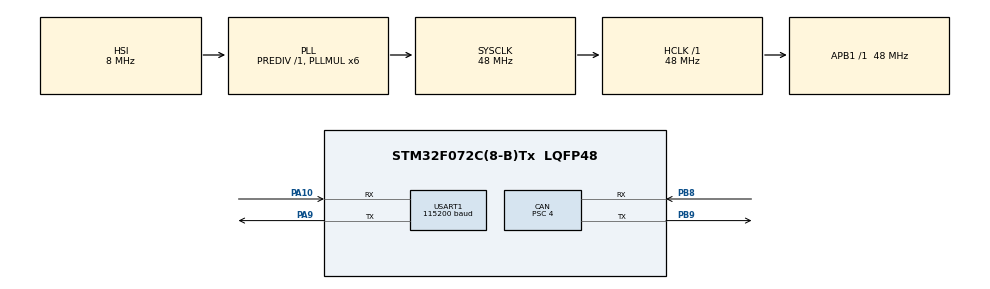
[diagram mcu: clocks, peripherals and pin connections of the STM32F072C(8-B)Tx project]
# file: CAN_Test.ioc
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CAN.ABOM=ENABLE
CAN.AWUM=ENABLE
CAN.BS1=CAN_BS1_6TQ
CAN.BS2=CAN_BS2_5TQ
CAN.CalculateBaudRate=1000000
CAN.CalculateTimeBit=1000
CAN.CalculateTimeQuantum=83.33333333333333
CAN.Mode=CAN_MODE_LOOPBACK
CAN.NART=ENABLE
CAN.Prescaler=4
CAN.RFLM=ENABLE
CAN.SJW=CAN_SJW_2TQ
Mcu.Family=STM32F0
Mcu.Name=STM32F072C(8-B)Tx
Mcu.Package=LQFP48
NVIC.CEC_CAN_IRQn=true\:1\:0\:true\:false\:true\:true\:true\:true
NVIC.USART1_IRQn=true\:2\:0\:true\:false\:true\:true\:true\:true
PA10.Mode=Asynchronous
PA10.Signal=USART1_RX
PA13.Mode=Serial_Wire
PA13.Signal=SYS_SWDIO
PA14.Mode=Serial_Wire
PA14.Signal=SYS_SWCLK
PA9.Mode=Asynchronous
PA9.Signal=USART1_TX
PB8.Mode=CAN_Activate
PB8.Signal=CAN_RX
PB9.Mode=CAN_Activate
PB9.Signal=CAN_TX
PF0-OSC_IN.Mode=HSE-External-Oscillator
PF0-OSC_IN.Signal=RCC_OSC_IN
PF1-OSC_OUT.Mode=HSE-External-Oscillator
PF1-OSC_OUT.Signal=RCC_OSC_OUT
ProjectManager.HeapSize=0x200
ProjectManager.StackSize=0x400
ProjectManager.TargetToolchain=STM32CubeIDE
RCC.AHBFreq_Value=48000000
RCC.APB1Freq_Value=48000000
RCC.APB1TimFreq_Value=48000000
RCC.HCLKFreq_Value=48000000
RCC.PLLMUL=RCC_PLL_MUL6
RCC.SYSCLKFreq_VALUE=48000000
RCC.SYSCLKSource=RCC_SYSCLKSOURCE_PLLCLK
USART1.BaudRate=115200
USART1.VirtualMode-Asynchronous=VM_ASYNC
board=custom

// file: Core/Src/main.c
/* USER CODE BEGIN Header */
/**
  ******************************************************************************
  * @file           : main.c
  * @brief          : Main program body
  ******************************************************************************
  * @attention
  *
  * Copyright (c) 2024 STMicroelectronics.
  * All rights reserved.
  *
  * This software is licensed under terms that can be found in the LICENSE file
  * in the root directory of this software component.
  * If no LICENSE file comes with this software, it is provided AS-IS.
  *
  ******************************************************************************
  */
/* USER CODE END Header */
#include "main.h"
#include "can.h"
#include "usart.h"
#include "gpio.h"

/* USER CODE BEGIN PV */
uint8_t flag = 0;
uint32_t TxMailbox;
uint8_t RxData[8];

uint8_t TxData[8] = {0x01, 0x02, 0x03, 0x04, 0x05, 0x06, 0x07, 0x08};
CAN_RxHeaderTypeDef RxHeader;
CAN_TxHeaderTypeDef TxHeader;
/* USER CODE END PV */

void SystemClock_Config(void);

int main(void)
{

  /* MCU Configuration--------------------------------------------------------*/

  /* Reset of all peripherals, Initializes the Flash interface and the Systick. */
  HAL_Init();

  /* Configure the system clock */
  SystemClock_Config();

  /* Initialize all configured peripherals */
  MX_GPIO_Init();
  MX_CAN_Init();
  MX_USART1_UART_Init();
  /* USER CODE BEGIN 2 */
  Can_SetTxMsg(&TxHeader);
	if (HAL_CAN_AddTxMessage(&hcan, &TxHeader, TxData, &TxMailbox) != HAL_OK)
	{
	  Error_Handler();
	}

	printf("\r\nCAN DATA transmit success:\r\n");
	for(uint8_t i = 0; i < 8; i++)
	{
		printf("%2x ", TxData[i]);
	}
	printf("\r\nCAN DATA transmit success:\r\n");
  /* USER CODE END 2 */

  /* Infinite loop */
  /* USER CODE BEGIN WHILE */
  while (1)
  {
//	  printf("\r\n hello mingda \r\n");

	  if(flag == 1)
	  {

		printf("\r\nCAN DATA Receive success:\r\n");
		for(uint8_t i = 0; i < 8; i++)
		{
			printf("%2x ", RxData[i]);
		}
		printf("\r\nCAN DATA Receive success:\r\n");

		flag = 0;
	  }

		for(uint8_t i = 0; i < 8; i++)
		{
			TxData[i] = TxData[i] + 1;
		}

		if (HAL_CAN_AddTxMessage(&hcan, &TxHeader, TxData, &TxMailbox) != HAL_OK)
		{
		  Error_Handler();
		}

		printf("\r\nCAN DATA transmit success:\r\n");

		for(uint8_t i = 0; i < 8; i++)
		{
			printf("%2x ", TxData[i]);
		}
		printf("\r\nCAN DATA transmit success:\r\n");
	  HAL_Delay(1000);
    /* USER CODE END WHILE */

  }
}

void SystemClock_Config(void)
{
  RCC_OscInitTypeDef RCC_OscInitStruct = {0};
  RCC_ClkInitTypeDef RCC_ClkInitStruct = {0};
  RCC_PeriphCLKInitTypeDef PeriphClkInit = {0};

  /** Initializes the RCC Oscillators according to the specified parameters
  * in the RCC_OscInitTypeDef structure.
  */
  RCC_OscInitStruct.OscillatorType = RCC_OSCILLATORTYPE_HSI;
  RCC_OscInitStruct.HSIState = RCC_HSI_ON;
  RCC_OscInitStruct.HSICalibrationValue = RCC_HSICALIBRATION_DEFAULT;
  RCC_OscInitStruct.PLL.PLLState = RCC_PLL_ON;
  RCC_OscInitStruct.PLL.PLLSource = RCC_PLLSOURCE_HSI;
  RCC_OscInitStruct.PLL.PLLMUL = RCC_PLL_MUL6;
  RCC_OscInitStruct.PLL.PREDIV = RCC_PREDIV_DIV1;
  if (HAL_RCC_OscConfig(&RCC_OscInitStruct) != HAL_OK)
  {
    Error_Handler();
  }

  /** Initializes the CPU, AHB and APB buses clocks
  */
  RCC_ClkInitStruct.ClockType = RCC_CLOCKTYPE_HCLK|RCC_CLOCKTYPE_SYSCLK
                              |RCC_CLOCKTYPE_PCLK1;
  RCC_ClkInitStruct.SYSCLKSource = RCC_SYSCLKSOURCE_PLLCLK;
  RCC_ClkInitStruct.AHBCLKDivider = RCC_SYSCLK_DIV1;
  RCC_ClkInitStruct.APB1CLKDivider = RCC_HCLK_DIV1;

  if (HAL_RCC_ClockConfig(&RCC_ClkInitStruct, FLASH_LATENCY_1) != HAL_OK)
  {
    Error_Handler();
  }
  PeriphClkInit.PeriphClockSelection = RCC_PERIPHCLK_USART1;
  PeriphClkInit.Usart1ClockSelection = RCC_USART1CLKSOURCE_PCLK1;
  if (HAL_RCCEx_PeriphCLKConfig(&PeriphClkInit) != HAL_OK)
  {
    Error_Handler();
  }
}

/* USER CODE BEGIN 4 */
void HAL_CAN_RxFifo0MsgPendingCallback(CAN_HandleTypeDef *hcan)
{
	HAL_CAN_GetRxMessage(hcan, CAN_RX_FIFO0, &RxHeader, RxData);

	if((RxHeader.ExtId == 0x1314) && (RxHeader.RTR == CAN_RTR_DATA) && (RxHeader.DLC == 8))
	{
		flag = 1;
	}

}
/* USER CODE END 4 */

void Error_Handler(void)
{
  __disable_irq();
  while (1)
  {
  }
}
